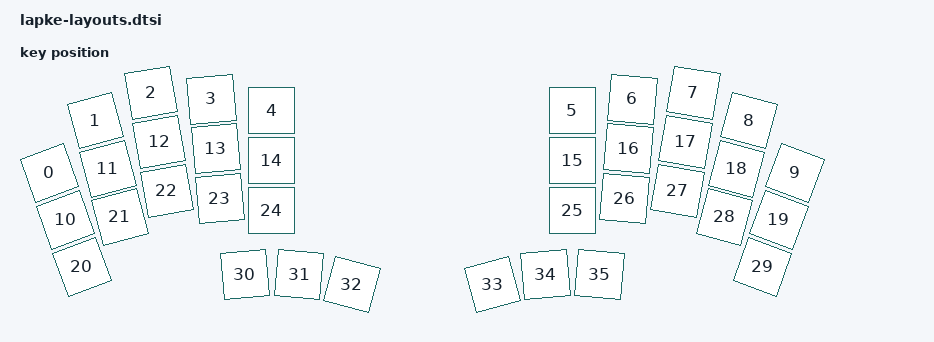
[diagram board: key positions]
#include <physical_layouts.dtsi>

/ {
    physical_layout0: physical_layout_0 {
        compatible = "zmk,physical-layout";
        display-name = "Default Layout";
        transform = <&default_transform>;
        kscan = <&default_kscan>;
        keys  //                     w   h    x    y     rot    rx    ry
            = <&key_physical_attrs 100 100    0  161 (-2000)    50   211>
            , <&key_physical_attrs 100 100   92   56 (-1500)   142   106>
            , <&key_physical_attrs 100 100  203    0 (-1000)   253    50>
            , <&key_physical_attrs 100 100  324   13  (-500)   374    63>
            , <&key_physical_attrs 100 100  445   36       0     0     0>
            , <&key_physical_attrs 100 100 1046   36       0     0     0>
            , <&key_physical_attrs 100 100 1166   13     500  1216    63>
            , <&key_physical_attrs 100 100 1288    0    1000  1338    50>
            , <&key_physical_attrs 100 100 1399   56    1500  1449   106>
            , <&key_physical_attrs 100 100 1491  161    2000  1541   211>
            , <&key_physical_attrs 100 100   32  255 (-2000)    82   305>
            , <&key_physical_attrs 100 100  117  153 (-1500)   167   203>
            , <&key_physical_attrs 100 100  219   99 (-1000)   269   148>
            , <&key_physical_attrs 100 100  333  112  (-500)   383   162>
            , <&key_physical_attrs 100 100  445  136       0     0     0>
            , <&key_physical_attrs 100 100 1046  136       0     0     0>
            , <&key_physical_attrs 100 100 1158  112     500  1208   162>
            , <&key_physical_attrs 100 100 1272   99    1000  1322   148>
            , <&key_physical_attrs 100 100 1374  153    1500  1424   203>
            , <&key_physical_attrs 100 100 1459  255    2000  1509   305>
            , <&key_physical_attrs 100 100   65  349 (-2000)   115   399>
            , <&key_physical_attrs 100 100  141  249 (-1500)   191   299>
            , <&key_physical_attrs 100 100  235  197 (-1000)   285   247>
            , <&key_physical_attrs 100 100  341  212  (-500)   391   262>
            , <&key_physical_attrs 100 100  445  236       0     0     0>
            , <&key_physical_attrs 100 100 1046  236       0     0     0>
            , <&key_physical_attrs 100 100 1150  212     500  1200   262>
            , <&key_physical_attrs 100 100 1256  197    1000  1306   247>
            , <&key_physical_attrs 100 100 1350  249    1500  1400   299>
            , <&key_physical_attrs 100 100 1426  349    2000  1476   399>
            , <&key_physical_attrs 100 100  391  364  (-500)   441   415>
            , <&key_physical_attrs 100 100  499  364     500   549   415>
            , <&key_physical_attrs 100 100  605  384    1500   655   434>
            , <&key_physical_attrs 100 100  886  384 (-1500)   936   434>
            , <&key_physical_attrs 100 100  992  364  (-500)  1042   415>
            , <&key_physical_attrs 100 100 1100  364     500  1150   415>
            ;
    };
};
